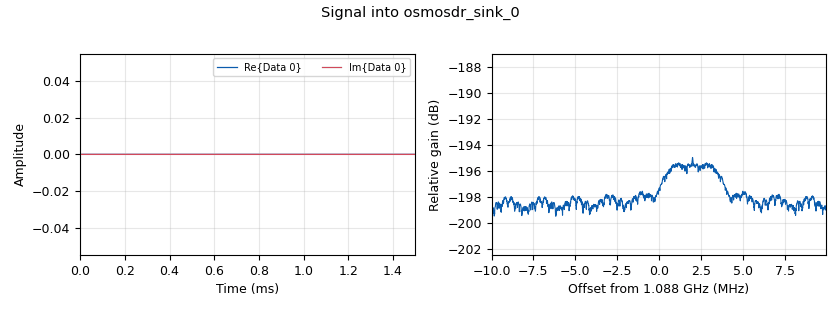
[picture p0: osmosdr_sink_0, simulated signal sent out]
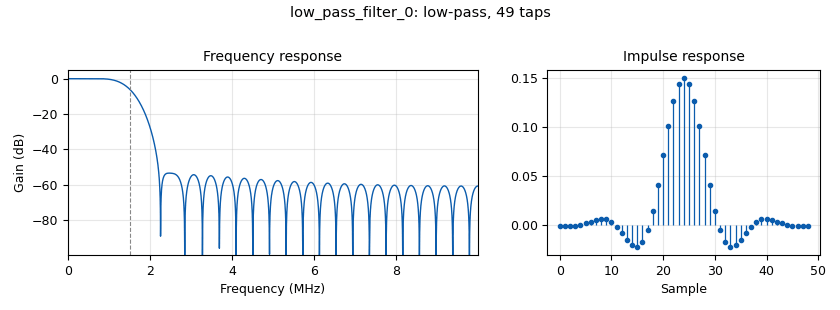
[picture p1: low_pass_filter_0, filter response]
options:
  parameters:
    author: Ebubekir Tasci
    generate_options: qt_gui
    id: adsb_test
    output_language: python
    title: Not titled yet
  states: {}

blocks:
- name: samp_rate
  id: variable
  parameters:
    value: '20000000'
  states: {}
- name: analog_sig_source_x_0
  id: analog_sig_source_x
  parameters:
    amp: '1'
    freq: 2e6
    offset: '0'
    phase: '0'
    samp_rate: samp_rate
    type: complex
    waveform: analog.GR_COS_WAVE
  states: {}
- name: blocks_float_to_complex_0
  id: blocks_float_to_complex
  parameters: {}
  states: {}
- name: blocks_multiply_xx_0
  id: blocks_multiply_xx
  parameters:
    type: complex
  states: {}
- name: blocks_repeat_0
  id: blocks_repeat
  parameters:
    interp: '10'
    type: float
  states: {}
- name: blocks_vector_source_x_0
  id: blocks_vector_source_x
  parameters:
    repeat: 'True'
    type: float
    vector: '[1,0,1,0,0,0,0,1,0,1,0,0,0,0,0,0] + sum([[1,0] if c==''1'' else [0,1] for c in f"{int(''8D4840D6202CC371C32CE0576098'', 16):0112b}"], []) + [0]*5000 + [1,0,1,0,0,0,0,1,0,1,0,0,0,0,0,0] + sum([[1,0] if c==''1'' else [0,1] for c in f"{int(''8D4840D658968D56A49520F74CB0'', 16):0112b}"], []) + [0]*5000 + [1,0,1,0,0,0,0,1,0,1,0,0,0,0,0,0] + sum([[1,0] if c==''1'' else [0,1] for c in f"{int(''8D4840D69911D408E010802BD87B'', 16):0112b}"], []) + [0]*5000'
  states: {}
- name: low_pass_filter_0
  id: low_pass_filter
  parameters:
    cutoff_freq: 1.5e6
    decim: '1'
    gain: '1'
    samp_rate: samp_rate
    type: fir_filter_fff
    width: 1e6
    win: window.WIN_HAMMING
  states: {}
- name: osmosdr_sink_0
  id: osmosdr_sink
  parameters:
    args: hackrf=0
    bb_gain0: '25'
    freq0: 1.088e9
    gain0: '0'
    if_gain0: '25'
    sample_rate: samp_rate
    sync: sync
    time_source0: external
    type: fc32
  states: {}

connections:
- [analog_sig_source_x_0, '0', blocks_multiply_xx_0, '1']
- [blocks_float_to_complex_0, '0', blocks_multiply_xx_0, '0']
- [blocks_multiply_xx_0, '0', osmosdr_sink_0, '0']
- [blocks_repeat_0, '0', low_pass_filter_0, '0']
- [blocks_vector_source_x_0, '0', blocks_repeat_0, '0']
- [low_pass_filter_0, '0', blocks_float_to_complex_0, '0']

metadata:
  file_format: 1
  grc_version: 3.10.12.0
